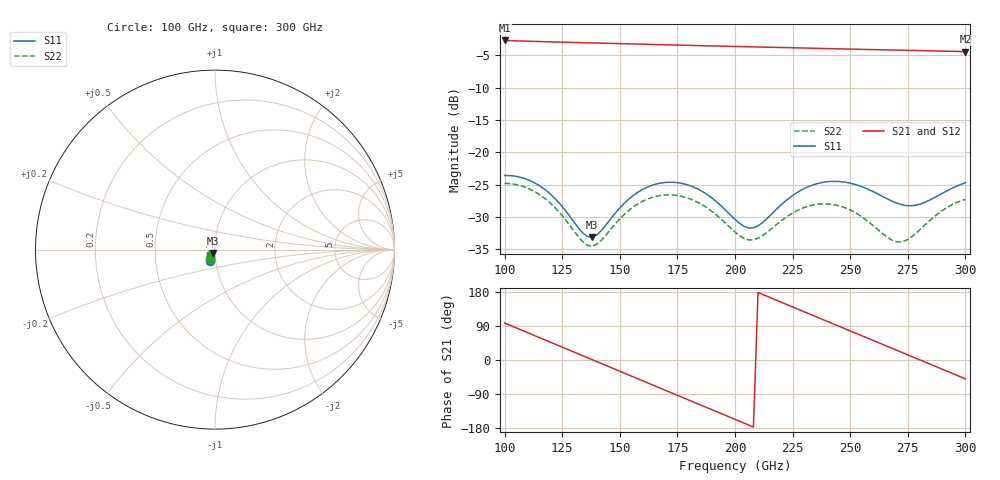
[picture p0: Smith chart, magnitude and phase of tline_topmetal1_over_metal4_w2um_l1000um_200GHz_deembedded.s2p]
! Created with skrf 2.0.1 (http://scikit-rf.org).
# GHz S DB R 50.0
!freq dBS11 angS11 dBS21 angS21 dBS12 angS12 dBS22 angS22
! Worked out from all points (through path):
!   101 points, 100 GHz to 300 GHz, reference 50 ohm
!   highest |S21| = -2.72 dB at 100 GHz (marker M1); lowest = -4.4 dB at 300 GHz (marker M2)
!   group delay of S21, straight-line fit = 7.04 ps
!   lowest |S11| = -33.1 dB at 138 GHz (marker M3), VSWR 1.05, Z = 48.8 - j1.84 ohm
!   |S11| at or under -10 dB: start of sweep to end of sweep
!   |S22| runs from -34.5 to -24.8 dB; largest |S21 - S12| = 8.4e-14
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100  -23.60 -112.7  -2.72 97.7  -2.72 97.7  -24.82 -118.4
108  -23.98 -128.2  -2.81 77.3  -2.81 77.3  -25.29 -134.7
116  -25.38 -141.8  -2.90 56.9  -2.90 56.9  -26.75 -149.1
126  -28.83 -150.7  -2.99 31.4  -2.99 31.4  -30.24 -158.9
134  -32.50 -137.9  -3.07 11.1  -3.07 11.1  -33.87 -147.4
138  -33.14 -121.1  -3.10 0.9  -3.10 0.9  -34.52 -131.7
152  -27.87 -97.6  -3.23 -34.7  -3.23 -34.7  -29.59 -110.4
168  -24.75 -117.7  -3.37 -75.4  -3.37 -75.4  -26.67 -131.9
182  -25.38 -138.5  -3.50 -110.9  -3.50 -110.9  -27.43 -154.0
192  -27.66 -147.4  -3.58 -136.3  -3.58 -136.3  -29.73 -163.7
200  -30.38 -142.9  -3.65 -156.6  -3.65 -156.6  -32.33 -160.2
208  -31.69 -120.8  -3.71 -176.9  -3.71 -176.9  -33.55 -141.6
216  -29.52 -103.3  -3.78 162.9  -3.78 162.9  -31.77 -127.3
224  -26.95 -102.4  -3.84 142.6  -3.84 142.6  -29.61 -127.7
234  -25.03 -111.5  -3.92 117.2  -3.92 117.2  -28.15 -138.1
242  -24.51 -121.0  -3.99 97.0  -3.99 97.0  -28.06 -148.6
250  -24.78 -129.9  -4.06 76.8  -4.06 76.8  -28.93 -158.0
258  -25.76 -135.8  -4.12 56.5  -4.12 56.5  -30.76 -162.8
268  -27.53 -134.5  -4.20 31.3  -4.20 31.3  -33.57 -151.7
274  -28.23 -127.6  -4.24 16.1  -4.24 16.1  -33.67 -135.3
284  -27.49 -114.5  -4.32 -9.2  -4.32 -9.2  -30.73 -121.6
300  -24.72 -115.4  -4.44 -49.6  -4.44 -49.6  -27.29 -134.5
